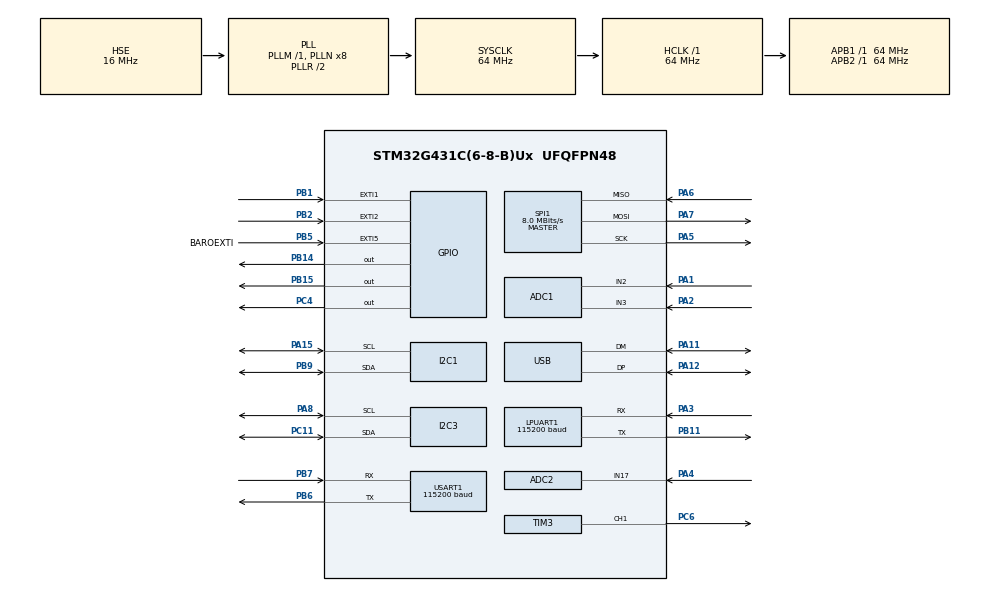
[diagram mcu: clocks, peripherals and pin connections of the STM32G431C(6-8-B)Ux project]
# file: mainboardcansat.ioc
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ADC1.Channel-0\#ChannelRegularConversion=ADC_CHANNEL_VREFINT
ADC1.Channel-1\#ChannelRegularConversion=ADC_CHANNEL_TEMPSENSOR_ADC1
ADC1.Channel-2\#ChannelRegularConversion=ADC_CHANNEL_2
ADC1.Channel-3\#ChannelRegularConversion=ADC_CHANNEL_3
ADC1.ContinuousConvMode=ENABLE
ADC1.EOCSelection=ADC_EOC_SEQ_CONV
ADC1.ExternalTrigConv=ADC_EXTERNALTRIG_T4_TRGO
ADC1.NbrOfConversion=4
ADC1.NbrOfConversionFlag=1
ADC1.OffsetNumber-0\#ChannelRegularConversion=ADC_OFFSET_NONE
ADC1.OffsetNumber-1\#ChannelRegularConversion=ADC_OFFSET_NONE
ADC1.OffsetNumber-2\#ChannelRegularConversion=ADC_OFFSET_NONE
ADC1.OffsetNumber-3\#ChannelRegularConversion=ADC_OFFSET_NONE
ADC1.Rank-0\#ChannelRegularConversion=1
ADC1.Rank-1\#ChannelRegularConversion=2
ADC1.Rank-2\#ChannelRegularConversion=3
ADC1.Rank-3\#ChannelRegularConversion=4
ADC1.SamplingTime-0\#ChannelRegularConversion=ADC_SAMPLETIME_640CYCLES_5
ADC1.SamplingTime-1\#ChannelRegularConversion=ADC_SAMPLETIME_640CYCLES_5
ADC1.SamplingTime-2\#ChannelRegularConversion=ADC_SAMPLETIME_640CYCLES_5
ADC1.SamplingTime-3\#ChannelRegularConversion=ADC_SAMPLETIME_640CYCLES_5
ADC1.master=1
ADC2.Channel-0\#ChannelRegularConversion=ADC_CHANNEL_17
ADC2.ContinuousConvMode=ENABLE
ADC2.ExternalTrigConv=ADC_EXTERNALTRIG_T4_TRGO
ADC2.NbrOfConversionFlag=1
ADC2.OffsetNumber-0\#ChannelRegularConversion=ADC_OFFSET_NONE
ADC2.Rank-0\#ChannelRegularConversion=1
ADC2.SamplingTime-0\#ChannelRegularConversion=ADC_SAMPLETIME_640CYCLES_5
Dma.ADC1.2.Direction=DMA_PERIPH_TO_MEMORY
Dma.ADC1.2.EventEnable=DISABLE
Dma.ADC1.2.Instance=DMA1_Channel3
Dma.ADC1.2.MemDataAlignment=DMA_MDATAALIGN_HALFWORD
Dma.ADC1.2.MemInc=DMA_MINC_ENABLE
Dma.ADC1.2.Mode=DMA_CIRCULAR
Dma.ADC1.2.PeriphDataAlignment=DMA_PDATAALIGN_HALFWORD
Dma.ADC1.2.PeriphInc=DMA_PINC_DISABLE
Dma.ADC1.2.Polarity=HAL_DMAMUX_REQ_GEN_RISING
Dma.ADC1.2.Priority=DMA_PRIORITY_LOW
Dma.ADC1.2.RequestNumber=1
Dma.ADC1.2.SignalID=NONE
Dma.ADC1.2.SyncEnable=DISABLE
Dma.ADC1.2.SyncPolarity=HAL_DMAMUX_SYNC_NO_EVENT
Dma.ADC1.2.SyncRequestNumber=1
Dma.ADC1.2.SyncSignalID=NONE
Dma.ADC2.4.Direction=DMA_PERIPH_TO_MEMORY
Dma.ADC2.4.EventEnable=DISABLE
Dma.ADC2.4.Instance=DMA1_Channel5
Dma.ADC2.4.MemDataAlignment=DMA_MDATAALIGN_HALFWORD
Dma.ADC2.4.MemInc=DMA_MINC_ENABLE
Dma.ADC2.4.Mode=DMA_CIRCULAR
Dma.ADC2.4.PeriphDataAlignment=DMA_PDATAALIGN_HALFWORD
Dma.ADC2.4.PeriphInc=DMA_PINC_DISABLE
Dma.ADC2.4.Polarity=HAL_DMAMUX_REQ_GEN_RISING
Dma.ADC2.4.Priority=DMA_PRIORITY_LOW
Dma.ADC2.4.RequestNumber=1
Dma.ADC2.4.SignalID=NONE
Dma.ADC2.4.SyncEnable=DISABLE
Dma.ADC2.4.SyncPolarity=HAL_DMAMUX_SYNC_NO_EVENT
Dma.ADC2.4.SyncRequestNumber=1
Dma.ADC2.4.SyncSignalID=NONE
Dma.LPUART1_RX.0.Direction=DMA_PERIPH_TO_MEMORY
Dma.LPUART1_RX.0.EventEnable=DISABLE
Dma.LPUART1_RX.0.Instance=DMA1_Channel1
Dma.LPUART1_RX.0.MemDataAlignment=DMA_MDATAALIGN_BYTE
Dma.LPUART1_RX.0.MemInc=DMA_MINC_ENABLE
Dma.LPUART1_RX.0.Mode=DMA_CIRCULAR
Dma.LPUART1_RX.0.PeriphDataAlignment=DMA_PDATAALIGN_BYTE
Dma.LPUART1_RX.0.PeriphInc=DMA_PINC_DISABLE
Dma.LPUART1_RX.0.Polarity=HAL_DMAMUX_REQ_GEN_RISING
Dma.LPUART1_RX.0.Priority=DMA_PRIORITY_LOW
Dma.LPUART1_RX.0.RequestNumber=1
Dma.LPUART1_RX.0.SignalID=NONE
Dma.LPUART1_RX.0.SyncEnable=DISABLE
Dma.LPUART1_RX.0.SyncPolarity=HAL_DMAMUX_SYNC_NO_EVENT
Dma.LPUART1_RX.0.SyncRequestNumber=1
Dma.LPUART1_RX.0.SyncSignalID=NONE
Dma.LPUART1_TX.1.Direction=DMA_MEMORY_TO_PERIPH
Dma.LPUART1_TX.1.EventEnable=DISABLE
Dma.LPUART1_TX.1.Instance=DMA1_Channel2
Dma.LPUART1_TX.1.MemDataAlignment=DMA_MDATAALIGN_BYTE
Dma.LPUART1_TX.1.MemInc=DMA_MINC_ENABLE
Dma.LPUART1_TX.1.Mode=DMA_NORMAL
Dma.LPUART1_TX.1.PeriphDataAlignment=DMA_PDATAALIGN_BYTE
Dma.LPUART1_TX.1.PeriphInc=DMA_PINC_DISABLE
Dma.LPUART1_TX.1.Polarity=HAL_DMAMUX_REQ_GEN_RISING
Dma.LPUART1_TX.1.Priority=DMA_PRIORITY_LOW
Dma.LPUART1_TX.1.RequestNumber=1
Dma.LPUART1_TX.1.SignalID=NONE
Dma.LPUART1_TX.1.SyncEnable=DISABLE
Dma.LPUART1_TX.1.SyncPolarity=HAL_DMAMUX_SYNC_NO_EVENT
Dma.LPUART1_TX.1.SyncRequestNumber=1
Dma.LPUART1_TX.1.SyncSignalID=NONE
Dma.Request0=LPUART1_RX
Dma.Request1=LPUART1_TX
Dma.Request2=ADC1
Dma.Request3=USART1_RX
Dma.Request4=ADC2
Dma.USART1_RX.3.Direction=DMA_PERIPH_TO_MEMORY
Dma.USART1_RX.3.EventEnable=DISABLE
Dma.USART1_RX.3.Instance=DMA1_Channel4
Dma.USART1_RX.3.MemDataAlignment=DMA_MDATAALIGN_BYTE
Dma.USART1_RX.3.MemInc=DMA_MINC_ENABLE
Dma.USART1_RX.3.Mode=DMA_CIRCULAR
Dma.USART1_RX.3.PeriphDataAlignment=DMA_PDATAALIGN_BYTE
Dma.USART1_RX.3.PeriphInc=DMA_PINC_DISABLE
Dma.USART1_RX.3.Polarity=HAL_DMAMUX_REQ_GEN_RISING
Dma.USART1_RX.3.Priority=DMA_PRIORITY_LOW
Dma.USART1_RX.3.RequestNumber=1
Dma.USART1_RX.3.SignalID=NONE
Dma.USART1_RX.3.SyncEnable=DISABLE
Dma.USART1_RX.3.SyncPolarity=HAL_DMAMUX_SYNC_NO_EVENT
Dma.USART1_RX.3.SyncRequestNumber=1
Dma.USART1_RX.3.SyncSignalID=NONE
I2C1.Timing=0x10B17DB5
I2C3.Timing=0x10B17DB5
LPUART1.BaudRate=115200
Mcu.Family=STM32G4
Mcu.Name=STM32G431C(6-8-B)Ux
Mcu.Package=UFQFPN48
NVIC.DMA1_Channel1_IRQn=true\:0\:0\:false\:false\:true\:false\:true\:true
NVIC.DMA1_Channel2_IRQn=true\:0\:0\:false\:false\:true\:false\:true\:true
NVIC.DMA1_Channel3_IRQn=true\:0\:0\:false\:false\:true\:false\:true\:true
NVIC.DMA1_Channel4_IRQn=true\:0\:0\:false\:false\:true\:false\:true\:true
NVIC.DMA1_Channel5_IRQn=true\:0\:0\:false\:false\:true\:false\:true\:true
NVIC.EXTI1_IRQn=true\:0\:0\:false\:false\:true\:true\:true\:true
NVIC.EXTI2_IRQn=true\:0\:0\:false\:false\:true\:true\:true\:true
NVIC.LPUART1_IRQn=true\:0\:0\:false\:false\:true\:true\:true\:true
NVIC.PriorityGroup=NVIC_PRIORITYGROUP_4
NVIC.TIM3_IRQn=true\:0\:0\:false\:false\:true\:true\:true\:true
NVIC.TIM4_IRQn=true\:0\:0\:false\:false\:true\:true\:true\:true
NVIC.USART1_IRQn=true\:0\:0\:false\:false\:true\:true\:true\:true
PA1.Mode=IN2-Single-Ended
PA1.Signal=ADC1_IN2
PA11.Mode=Device
PA11.Signal=USB_DM
PA12.Mode=Device
PA12.Signal=USB_DP
PA13.Mode=Trace_Asynchronous_SW
PA13.Signal=SYS_JTMS-SWDIO
PA14.Mode=Trace_Asynchronous_SW
PA14.Signal=SYS_JTCK-SWCLK
PA15.Mode=I2C
PA15.Signal=I2C1_SCL
PA2.Mode=IN3-Single-Ended
PA2.Signal=ADC1_IN3
PA3.Mode=Asynchronous
PA3.Signal=LPUART1_RX
PA4.Mode=IN17-Single-Ended
PA4.Signal=ADC2_IN17
PA5.Mode=Full_Duplex_Master
PA5.Signal=SPI1_SCK
PA6.Mode=Full_Duplex_Master
PA6.Signal=SPI1_MISO
PA7.Mode=Full_Duplex_Master
PA7.Signal=SPI1_MOSI
PA8.Mode=I2C
PA8.Signal=I2C3_SCL
PB1.Signal=GPXTI1
PB11.Mode=Asynchronous
PB11.Signal=LPUART1_TX
PB14.Signal=GPIO_Output
PB15.Signal=GPIO_Output
PB2.Signal=GPXTI2
PB3.Mode=Trace_Asynchronous_SW
PB3.Signal=SYS_JTDO-SWO
PB5.GPIO_Label=BAROEXTI
PB5.Signal=GPXTI5
PB6.Mode=Asynchronous
PB6.Signal=USART1_TX
PB7.Mode=Asynchronous
PB7.Signal=USART1_RX
PB9.Mode=I2C
PB9.Signal=I2C1_SDA
PC11.Mode=I2C
PC11.Signal=I2C3_SDA
PC4.Signal=GPIO_Output
PC6.Signal=S_TIM3_CH1
PF0-OSC_IN.Mode=HSE-External-Oscillator
PF0-OSC_IN.Signal=RCC_OSC_IN
PF1-OSC_OUT.Mode=HSE-External-Oscillator
PF1-OSC_OUT.Signal=RCC_OSC_OUT
ProjectManager.HeapSize=0x200
ProjectManager.StackSize=0x400
ProjectManager.TargetToolchain=STM32CubeIDE
RCC.ADC12Freq_Value=64000000
RCC.AHBFreq_Value=64000000
RCC.APB1Freq_Value=64000000
RCC.APB1TimFreq_Value=64000000
RCC.APB2Freq_Value=64000000
RCC.APB2TimFreq_Value=64000000
RCC.CK48CLockSelection=RCC_USBCLKSOURCE_HSI48
RCC.CortexFreq_Value=64000000
RCC.EXTERNAL_CLOCK_VALUE=12288000
RCC.HCLKFreq_Value=64000000
RCC.HSE_VALUE=16000000
RCC.HSI48_VALUE=48000000
RCC.HSI_VALUE=16000000
RCC.LSE_VALUE=32768
RCC.PLLSourceVirtual=RCC_PLLSOURCE_HSE
RCC.SYSCLKFreq_VALUE=64000000
RCC.SYSCLKSource=RCC_SYSCLKSOURCE_PLLCLK
RCC.USART1CLockSelection=RCC_USART1CLKSOURCE_HSI
RCC.USBFreq_Value=48000000
RCC.VCOOutputFreq_Value=128000000
SH.S_TIM3_CH1.0=TIM3_CH1,PWM Generation1 CH1
SPI1.BaudRatePrescaler=SPI_BAUDRATEPRESCALER_8
SPI1.CalculateBaudRate=8.0 MBits/s
SPI1.DataSize=SPI_DATASIZE_8BIT
SPI1.Direction=SPI_DIRECTION_2LINES
SPI1.Mode=SPI_MODE_MASTER
SPI1.VirtualType=VM_MASTER
TIM3.Channel-PWM\ Generation1\ CH1=TIM_CHANNEL_1
TIM3.PeriodNoDither=20000-1
TIM3.Prescaler=64-1
TIM3.PulseNoDither_1=0
TIM4.Channel-PWM\ Generation3\ No\ Output=TIM_CHANNEL_3
TIM4.PeriodNoDither=999
TIM4.Prescaler=63
TIM4.TIM_MasterOutputTrigger=TIM_TRGO_UPDATE
USART1.BaudRate=115200
USART1.VirtualMode-Asynchronous=VM_ASYNC
VP_ADC1_TempSens_Input.Mode=IN-TempSens
VP_ADC1_Vref_Input.Mode=IN-Vrefint
VP_FATFS_VS_Generic.Mode=User_defined
VP_SYS_VS_DBSignals.Mode=DisableDeadBatterySignals
VP_TIM3_VS_ClockSourceINT.Mode=Internal
VP_TIM4_VS_ClockSourceINT.Mode=Internal
VP_TIM4_VS_no_output3.Mode=PWM Generation3 No Output
board=custom

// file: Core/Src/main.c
/* USER CODE BEGIN Header */
/**
  ******************************************************************************
  * @file           : main.c
  * @brief          : Main program body
  ******************************************************************************
  * @attention
  *
  * Copyright (c) 2024 STMicroelectronics.
  * All rights reserved.
  *
  * This software is licensed under terms that can be found in the LICENSE file
  * in the root directory of this software component.
  * If no LICENSE file comes with this software, it is provided AS-IS.
  *
  ******************************************************************************
  */
/* USER CODE END Header */
#include "main.h"
#include "adc.h"
#include "dma.h"
#include "app_fatfs.h"
#include "i2c.h"
#include "usart.h"
#include "spi.h"
#include "tim.h"
#include "usb.h"
#include "gpio.h"

/* USER CODE BEGIN Includes */
#include "fatfs_sd.h"
#include "nmea_parse.h"
/* USER CODE END Includes */

/* USER CODE BEGIN PV */
FATFS fs;
FATFS *pfs;
FIL fil;
FRESULT fres;
DWORD fre_clust;
uint32_t total, free1;
uint8_t buffer[100] = "";

uint8_t tarvos_TX_Buffer[TarvosTxBufferSize];
uint8_t tarvos_TX_Tampon[TarvosTxTamponSize];
uint8_t tarvos_RX_Buffer[TarvosRxBufferSize];
uint8_t tarvos_RX_Tampon[TarvosRxTamponSize];
uint8_t GPS_RX_Buffer[GPSRxBufferSize];
uint8_t GPS_RX_Tampon[GPSRxTamponSize];

uint8_t SD_Card_Write_Buffer[256];

int GPSbufferoldpos=0;
int GPSbuffernewpos=0;
int TarvosRXbufferoldpos=0;
int TarvosRXbuffernewpos=0;

uint8_t commandtarvos[]={0x02,0x00,};

uint16_t rawADCdata[5];
float temp=0;
float vrefint=0;
float vbat=0;
float current=0;
float power=0;
float vexternalsensor=0;

char envoi[200];
char accel_gyro[60];
char temperature[20];
uint16_t accel_data[3];
uint16_t gyro_data[3];

extern int flag_envoi;
extern int flag_sensor;
double temp_data;

GPS myData;
/* USER CODE END PV */

void SystemClock_Config(void);

int main(void)
{

  /* MCU Configuration--------------------------------------------------------*/

  /* Reset of all peripherals, Initializes the Flash interface and the Systick. */
  HAL_Init();

  /* Configure the system clock */
  SystemClock_Config();

  /* Initialize all configured peripherals */
  MX_GPIO_Init();
  MX_DMA_Init();
  MX_SPI1_Init();
  MX_USB_PCD_Init();
  if (MX_FATFS_Init() != APP_OK) {
    Error_Handler();
  }
  MX_I2C3_Init();
  MX_LPUART1_UART_Init();
  MX_ADC1_Init();
  MX_USART1_UART_Init();
  MX_TIM3_Init();
  MX_TIM4_Init();
  MX_ADC2_Init();
  MX_I2C1_Init();
  /* USER CODE BEGIN 2 */

  HAL_ADC_Start_DMA(&hadc1,(uint16_t*)rawADCdata, 5);
  HAL_ADC_Start_DMA(&hadc2,(uint16_t*)rawADCdata+4, 1);
  HAL_TIM_Base_Start_IT(&htim4);

  TIM3->CCR1=0;
  HAL_TIM_PWM_Start(&htim3, TIM_CHANNEL_1);

  HAL_GPIO_WritePin(GPIOB,GPIO_PIN_15,GPIO_PIN_SET);

  HAL_Delay(100);
  HAL_UART_Abort(&huart1);
  HAL_UART_Receive_DMA(&huart1, (uint8_t *)GPS_RX_Tampon, GPSRxTamponSize);

  HAL_Delay(100);
  HAL_UART_Abort(&hlpuart1);
  HAL_UART_Receive_DMA(&hlpuart1, (uint8_t *)tarvos_RX_Tampon, TarvosRxTamponSize);

  f_mount(&fs, "", 0);

// f_open(&fil, "debut.txt", FA_OPEN_ALWAYS | FA_READ | FA_WRITE);
//
// f_getfree("", &fre_clust, &pfs);
//
//  total = (uint32_t)((pfs->n_fatent - 2) * pfs->csize * 0.5);
//  free1 = (uint32_t)(fre_clust * pfs->csize * 0.5);
//
//  snprintf((uint8_t *) SD_Card_Write_Buffer,256,"adc1=%d,adc2=%d,adc3=%d,adc4=%d,adc5=%d\n\r",rawADCdata[0],rawADCdata[1],rawADCdata[2],rawADCdata[3],rawADCdata[4]);
//
//  f_puts("test", &fil);
//  f_puts((uint8_t *) SD_Card_Write_Buffer, &fil);
//  snprintf((uint8_t *) SD_Card_Write_Buffer,256,"adc1=%d,adc2=%d,adc3=%d,adc4=%d,adc5=%d\n\r",rawADCdata[0],rawADCdata[1],rawADCdata[2],rawADCdata[3],rawADCdata[4]);
//  f_puts((uint8_t *) SD_Card_Write_Buffer, &fil);
//  f_close(&fil);
//  /* Unmount SDCARD */
//  f_mount(NULL, "", 1);

  int indexboucle=0;
  int tarvosen=0;
  f_open(&fil, "adc.txt", FA_OPEN_ALWAYS | FA_READ | FA_WRITE);

  		   f_getfree("", &fre_clust, &pfs);

  /* USER CODE END 2 */

  /* Infinite loop */
  /* USER CODE BEGIN WHILE */
  Init_HighPerf_Mode_6_axis();
  INIT_PERM_TARVOS(0x16, 0x15); //mon adresse est 1° et on envoit à 2°

  while (1)
   {
	if (flag_sensor == 1){
		temp_data = Read_temp();
		Read_sensor_data(accel_data,gyro_data);
		conversion_char(envoi);
		nmea_parse(&myData, (uint8_t *) GPS_RX_Buffer);
		SEND_DATA_NETW(envoi, 0x82, 0x15, strlen(envoi));

	}
	if (vbat <= 6.4){
		SEND_DATA_NETW("$2,batterie faible#", 0x82, 0x15, strlen("$2,batterie faible#"));

	}
//	if(TIM3->CCR1>=120){
//		TIM3->CCR1=65;
//
//	}
	TIM3->CCR1=1530;

	HAL_Delay(100);

    /* USER CODE END WHILE */

  }
}

void SystemClock_Config(void)
{
  RCC_OscInitTypeDef RCC_OscInitStruct = {0};
  RCC_ClkInitTypeDef RCC_ClkInitStruct = {0};

  /** Configure the main internal regulator output voltage
  */
  HAL_PWREx_ControlVoltageScaling(PWR_REGULATOR_VOLTAGE_SCALE1);

  /** Initializes the RCC Oscillators according to the specified parameters
  * in the RCC_OscInitTypeDef structure.
  */
  RCC_OscInitStruct.OscillatorType = RCC_OSCILLATORTYPE_HSI|RCC_OSCILLATORTYPE_HSI48
                              |RCC_OSCILLATORTYPE_HSE;
  RCC_OscInitStruct.HSEState = RCC_HSE_ON;
  RCC_OscInitStruct.HSIState = RCC_HSI_ON;
  RCC_OscInitStruct.HSICalibrationValue = RCC_HSICALIBRATION_DEFAULT;
  RCC_OscInitStruct.HSI48State = RCC_HSI48_ON;
  RCC_OscInitStruct.PLL.PLLState = RCC_PLL_ON;
  RCC_OscInitStruct.PLL.PLLSource = RCC_PLLSOURCE_HSE;
  RCC_OscInitStruct.PLL.PLLM = RCC_PLLM_DIV1;
  RCC_OscInitStruct.PLL.PLLN = 8;
  RCC_OscInitStruct.PLL.PLLP = RCC_PLLP_DIV2;
  RCC_OscInitStruct.PLL.PLLQ = RCC_PLLQ_DIV2;
  RCC_OscInitStruct.PLL.PLLR = RCC_PLLR_DIV2;
  if (HAL_RCC_OscConfig(&RCC_OscInitStruct) != HAL_OK)
  {
    Error_Handler();
  }

  /** Initializes the CPU, AHB and APB buses clocks
  */
  RCC_ClkInitStruct.ClockType = RCC_CLOCKTYPE_HCLK|RCC_CLOCKTYPE_SYSCLK
                              |RCC_CLOCKTYPE_PCLK1|RCC_CLOCKTYPE_PCLK2;
  RCC_ClkInitStruct.SYSCLKSource = RCC_SYSCLKSOURCE_PLLCLK;
  RCC_ClkInitStruct.AHBCLKDivider = RCC_SYSCLK_DIV1;
  RCC_ClkInitStruct.APB1CLKDivider = RCC_HCLK_DIV1;
  RCC_ClkInitStruct.APB2CLKDivider = RCC_HCLK_DIV1;

  if (HAL_RCC_ClockConfig(&RCC_ClkInitStruct, FLASH_LATENCY_2) != HAL_OK)
  {
    Error_Handler();
  }
}

/* USER CODE BEGIN 4 */

void uint16_to_char_buffer(uint16_t *source, char *destination, size_t taille) {
  for (size_t i = 0; i < taille; i++) {
    destination[i] = (char)source[i];
  }
}

void conversion_char(char *envoi /*,uint16_t accel_data,uint16_t gyro_data,uint8_t position_data,uint8_t time_data,uint8_t baro_data, uint8_t temp_data*/){
    memset((char* )envoi, '\0', sizeof(envoi));
    size_t len;
    envoi[0]='$';
    envoi[1]='1';
    mef_accel_gyro((char* )accel_gyro,sizeof(accel_gyro),accel_data,gyro_data);
    len = strlen(envoi);
    for (int i = 0; i<(sizeof(accel_gyro));i++){
    	envoi[i+len] = accel_gyro[i];
    }
    len = strlen(envoi);
    mef_temp((char* )temperature, sizeof(temperature),temp_data);
    for (int i = 0; i<(sizeof(temperature));i++){
        	envoi[i+len] = temperature[i];
    }
    envoi[strlen(envoi)]='#';
}

void mef_accel_gyro(char *buffer, size_t buffer_size, uint16_t accel_data[3], uint16_t gyro_data[3]) {
    int len = snprintf(buffer, buffer_size, "%d,%d,%d,%d,%d,%d,",
                       accel_data[0], accel_data[1], accel_data[2],
                       gyro_data[0], gyro_data[1], gyro_data[2]);

    // S'assurer que la chaîne est bien terminée
    if (len >= buffer_size) {
        buffer[buffer_size - 1] = '\0';
    }
}

void mef_temp(char *buffer, size_t buffer_size, float temperature) {
    snprintf((char* )buffer, buffer_size, "%0.1lf",(double) temperature);
}
/* USER CODE END 4 */

void Error_Handler(void)
{
  __disable_irq();
  while (1)
  {
  }
}
